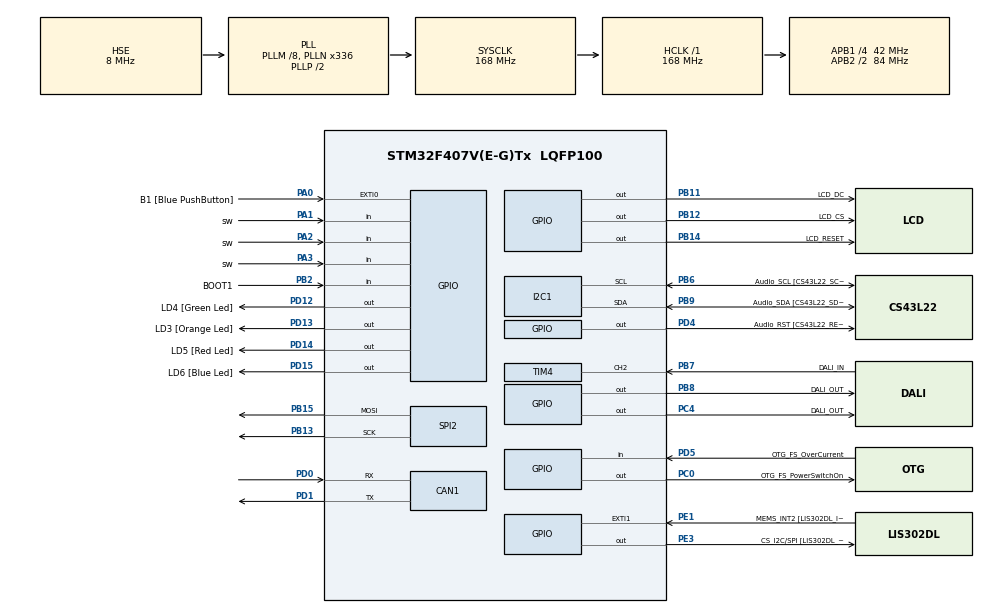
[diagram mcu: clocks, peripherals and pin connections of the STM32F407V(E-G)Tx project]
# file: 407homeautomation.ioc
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CAN1.BS1-Master=CAN_BS1_13TQ
CAN1.BS2-Master=CAN_BS2_2TQ
CAN1.CalculateTimeBit-Master=8000
CAN1.CalculateTimeQuantum-Master=500
CAN1.Mode-Master=CAN_MODE_LOOPBACK
CAN1.Prescaler-Master=21
Mcu.Family=STM32F4
Mcu.Name=STM32F407V(E-G)Tx
Mcu.Package=LQFP100
NVIC.CAN1_RX0_IRQn=true\:0\:0
NVIC.CAN1_RX1_IRQn=true\:0\:0
NVIC.PriorityGroup=NVIC_PRIORITYGROUP_0
NVIC.TIM4_IRQn=true\:0\:0
NVIC.TIM6_DAC_IRQn=true\:0\:0
PA0-WKUP.GPIO_Label=B1 [Blue PushButton]
PA0-WKUP.GPIO_ModeDefaultEXTI=GPIO_MODE_EVT_RISING
PA0-WKUP.GPIO_PuPd=GPIO_NOPULL
PA0-WKUP.Signal=GPXTI0
PA1.GPIO_Label=sw
PA1.GPIO_Mode=GPIO_MODE_INPUT
PA1.GPIO_PuPd=GPIO_PULLUP
PA1.Signal=GPIO_Input
PA10.GPIO_Label=OTG_FS_ID
PA10.GPIO_Mode=GPIO_MODE_AF_PP
PA10.GPIO_PuPd=GPIO_NOPULL
PA10.GPIO_Speed=GPIO_SPEED_LOW
PA10.Signal=USB_OTG_FS_ID
PA11.GPIO_Label=OTG_FS_DM
PA11.GPIO_Mode=GPIO_MODE_AF_PP
PA11.GPIO_PuPd=GPIO_NOPULL
PA11.GPIO_Speed=GPIO_SPEED_LOW
PA11.Signal=USB_OTG_FS_DM
PA12.GPIO_Label=OTG_FS_DP
PA12.GPIO_Mode=GPIO_MODE_AF_PP
PA12.GPIO_PuPd=GPIO_NOPULL
PA12.GPIO_Speed=GPIO_SPEED_LOW
PA12.Signal=USB_OTG_FS_DP
PA13.GPIO_Label=SWDIO
PA13.Mode=Trace-Asynchronous_SW
PA13.Signal=SYS_JTMS-SWDIO
PA14.GPIO_Label=SWCLK
PA14.Mode=Trace-Asynchronous_SW
PA14.Signal=SYS_JTCK-SWCLK
PA2.GPIO_Label=sw
PA2.GPIO_Mode=GPIO_MODE_INPUT
PA2.GPIO_PuPd=GPIO_PULLUP
PA2.Signal=GPIO_Input
PA3.GPIO_Label=sw
PA3.GPIO_Mode=GPIO_MODE_INPUT
PA3.GPIO_PuPd=GPIO_PULLUP
PA3.Signal=GPIO_Input
PA4.GPIO_Label=I2S3_WS [CS43L22_LRCK]
PA4.GPIO_Mode=GPIO_MODE_AF_PP
PA4.GPIO_PuPd=GPIO_NOPULL
PA4.GPIO_Speed=GPIO_SPEED_LOW
PA4.Signal=I2S3_WS
PA5.GPIO_Label=SPI1_SCK [LIS302DL_SCL/SPC]
PA5.GPIO_Mode=GPIO_MODE_AF_PP
PA5.GPIO_PuPd=GPIO_NOPULL
PA5.GPIO_Speed=GPIO_SPEED_LOW
PA5.Signal=SPI1_SCK
PA6.GPIO_Label=SPI1_MISO [LIS302DL_SDO]
PA6.GPIO_Mode=GPIO_MODE_AF_PP
PA6.GPIO_PuPd=GPIO_NOPULL
PA6.GPIO_Speed=GPIO_SPEED_LOW
PA6.Signal=SPI1_MISO
PA7.GPIO_Label=SPI1_MOSI [LIS302DL_SDA/SDI/SDO]
PA7.GPIO_Mode=GPIO_MODE_AF_PP
PA7.GPIO_PuPd=GPIO_NOPULL
PA7.GPIO_Speed=GPIO_SPEED_LOW
PA7.Signal=SPI1_MOSI
PA9.GPIO_Label=VBUS_FS
PA9.GPIO_Mode=GPIO_MODE_INPUT
PA9.GPIO_PuPd=GPIO_NOPULL
PA9.Signal=USB_OTG_FS_VBUS
PB10.GPIO_Label=CLK_IN [MP45DT02_CLK]
PB10.GPIO_Mode=GPIO_MODE_AF_PP
PB10.GPIO_PuPd=GPIO_NOPULL
PB10.GPIO_Speed=GPIO_SPEED_LOW
PB10.Signal=I2S2_CK
PB11.GPIO_Label=LCD_DC
PB11.GPIO_ModeDefaultOutputPP=GPIO_MODE_OUTPUT_PP
PB11.GPIO_PuPd=GPIO_NOPULL
PB11.GPIO_Speed=GPIO_SPEED_LOW
PB11.Signal=GPIO_Output
PB12.GPIO_Label=LCD_CS
PB12.GPIO_ModeDefaultOutputPP=GPIO_MODE_OUTPUT_PP
PB12.GPIO_PuPd=GPIO_NOPULL
PB12.GPIO_Speed=GPIO_SPEED_LOW
PB12.Signal=GPIO_Output
PB13.Mode=TX_Only_Simplex_Unidirect_Master
PB13.Signal=SPI2_SCK
PB14.GPIO_Label=LCD_RESET
PB14.GPIO_ModeDefaultOutputPP=GPIO_MODE_OUTPUT_PP
PB14.GPIO_PuPd=GPIO_NOPULL
PB14.GPIO_Speed=GPIO_SPEED_LOW
PB14.Signal=GPIO_Output
PB15.Mode=TX_Only_Simplex_Unidirect_Master
PB15.Signal=SPI2_MOSI
PB2.GPIO_Label=BOOT1
PB2.GPIO_Mode=GPIO_MODE_INPUT
PB2.GPIO_PuPd=GPIO_NOPULL
PB2.Signal=GPIO_Input
PB3.GPIO_Label=SWO
PB3.Mode=Trace-Asynchronous_SW
PB3.Signal=SYS_JTDO-SWO
PB6.GPIO_Label=Audio_SCL [CS43L22_SCL]
PB6.GPIO_Mode=GPIO_MODE_AF_OD
PB6.GPIO_PuPd=GPIO_NOPULL
PB6.GPIO_Speed=GPIO_SPEED_LOW
PB6.Mode=I2C
PB6.Signal=I2C1_SCL
PB7.GPIO_Label=DALI_IN
PB7.GPIO_ModeDefaultPP=GPIO_MODE_AF_PP
PB7.GPIO_PuPd=GPIO_NOPULL
PB7.GPIO_Speed=GPIO_SPEED_LOW
PB7.Signal=S_TIM4_CH2
PB8.GPIO_Label=DALI_OUT
PB8.GPIO_ModeDefaultOutputPP=GPIO_MODE_OUTPUT_OD
PB8.GPIO_PuPd=GPIO_PULLUP
PB8.GPIO_Speed=GPIO_SPEED_LOW
PB8.Signal=GPIO_Output
PB9.GPIO_Label=Audio_SDA [CS43L22_SDA]
PB9.GPIO_Mode=GPIO_MODE_AF_OD
PB9.GPIO_PuPd=GPIO_NOPULL
PB9.GPIO_Speed=GPIO_SPEED_LOW
PB9.Mode=I2C
PB9.Signal=I2C1_SDA
PC0.GPIO_Label=OTG_FS_PowerSwitchOn
PC0.GPIO_ModeDefaultOutputPP=GPIO_MODE_OUTPUT_PP
PC0.GPIO_PuPd=GPIO_NOPULL
PC0.GPIO_Speed=GPIO_SPEED_LOW
PC0.Signal=GPIO_Output
PC10.GPIO_Label=I2S3_SCK [CS43L22_SCLK]
PC10.GPIO_Mode=GPIO_MODE_AF_PP
PC10.GPIO_PuPd=GPIO_NOPULL
PC10.GPIO_Speed=GPIO_SPEED_LOW
PC10.Signal=I2S3_CK
PC12.GPIO_Label=I2S3_SD [CS43L22_SDIN]
PC12.GPIO_Mode=GPIO_MODE_AF_PP
PC12.GPIO_PuPd=GPIO_NOPULL
PC12.GPIO_Speed=GPIO_SPEED_LOW
PC12.Signal=I2S3_SD
PC14-OSC32_IN.GPIO_Label=PC14-OSC32_IN
PC14-OSC32_IN.Signal=RCC_OSC32_IN
PC15-OSC32_OUT.GPIO_Label=PC15-OSC32_OUT
PC15-OSC32_OUT.Signal=RCC_OSC32_OUT
PC3.GPIO_Label=PDM_OUT [MP45DT02_DOUT]
PC3.GPIO_Mode=GPIO_MODE_AF_PP
PC3.GPIO_PuPd=GPIO_NOPULL
PC3.GPIO_Speed=GPIO_SPEED_LOW
PC3.Signal=I2S2_SD
PC4.GPIO_Label=DALI_OUT
PC4.GPIO_ModeDefaultOutputPP=GPIO_MODE_OUTPUT_OD
PC4.GPIO_PuPd=GPIO_PULLUP
PC4.GPIO_Speed=GPIO_SPEED_LOW
PC4.Signal=GPIO_Output
PC7.GPIO_Label=I2S3_MCK [CS43L22_MCLK]
PC7.GPIO_Mode=GPIO_MODE_AF_PP
PC7.GPIO_PuPd=GPIO_NOPULL
PC7.GPIO_Speed=GPIO_SPEED_LOW
PC7.Signal=I2S3_MCK
PD0.Mode=Master
PD0.Signal=CAN1_RX
PD1.Mode=Master
PD1.Signal=CAN1_TX
PD12.GPIO_Label=LD4 [Green Led]
PD12.GPIO_ModeDefaultOutputPP=GPIO_MODE_OUTPUT_PP
PD12.GPIO_PuPd=GPIO_NOPULL
PD12.GPIO_Speed=GPIO_SPEED_LOW
PD12.Signal=GPIO_Output
PD13.GPIO_Label=LD3 [Orange Led]
PD13.GPIO_ModeDefaultOutputPP=GPIO_MODE_OUTPUT_PP
PD13.GPIO_PuPd=GPIO_NOPULL
PD13.GPIO_Speed=GPIO_SPEED_LOW
PD13.Signal=GPIO_Output
PD14.GPIO_Label=LD5 [Red Led]
PD14.GPIO_ModeDefaultOutputPP=GPIO_MODE_OUTPUT_PP
PD14.GPIO_PuPd=GPIO_NOPULL
PD14.GPIO_Speed=GPIO_SPEED_LOW
PD14.Signal=GPIO_Output
PD15.GPIO_Label=LD6 [Blue Led]
PD15.GPIO_ModeDefaultOutputPP=GPIO_MODE_OUTPUT_PP
PD15.GPIO_PuPd=GPIO_NOPULL
PD15.GPIO_Speed=GPIO_SPEED_LOW
PD15.Signal=GPIO_Output
PD4.GPIO_Label=Audio_RST [CS43L22_RESET]
PD4.GPIO_ModeDefaultOutputPP=GPIO_MODE_OUTPUT_PP
PD4.GPIO_PuPd=GPIO_NOPULL
PD4.GPIO_Speed=GPIO_SPEED_LOW
PD4.Signal=GPIO_Output
PD5.GPIO_Label=OTG_FS_OverCurrent
PD5.GPIO_Mode=GPIO_MODE_INPUT
PD5.GPIO_PuPd=GPIO_NOPULL
PD5.Signal=GPIO_Input
PE1.GPIO_Label=MEMS_INT2 [LIS302DL_INT2]
PE1.GPIO_ModeDefaultEXTI=GPIO_MODE_EVT_RISING
PE1.GPIO_PuPd=GPIO_NOPULL
PE1.Signal=GPXTI1
PE3.GPIO_Label=CS_I2C/SPI [LIS302DL_CS_I2C/SPI]
PE3.GPIO_ModeDefaultOutputPP=GPIO_MODE_OUTPUT_PP
PE3.GPIO_PuPd=GPIO_NOPULL
PE3.GPIO_Speed=GPIO_SPEED_LOW
PE3.Signal=GPIO_Output
PH0-OSC_IN.GPIO_Label=PH0-OSC_IN
PH0-OSC_IN.Mode=HSE-External-Oscillator
PH0-OSC_IN.Signal=RCC_OSC_IN
PH1-OSC_OUT.GPIO_Label=PH1-OSC_OUT
PH1-OSC_OUT.Mode=HSE-External-Oscillator
PH1-OSC_OUT.Signal=RCC_OSC_OUT
ProjectManager.TargetToolchain=TrueSTUDIO 4.3.1
RCC.48MHZClocksFreq_Value=48000000
RCC.AHBFreq_Value=168000000
RCC.APB1CLKDivider=RCC_HCLK_DIV4
RCC.APB1Freq_Value=42000000
RCC.APB1TimFreq_Value=84000000
RCC.APB2CLKDivider=RCC_HCLK_DIV2
RCC.APB2Freq_Value=84000000
RCC.APB2TimFreq_Value=168000000
RCC.ClockTypePCLK1-ClockTree=RCC_CLOCKTYPE_PCLK1
RCC.ClockTypePCLK2-ClockTree=RCC_CLOCKTYPE_PCLK2
RCC.ClockTypeSysClk-ClockTree=RCC_CLOCKTYPE_SYSCLK
RCC.CortexFreq_Value=21000000
RCC.EnableExtClockForI2S-ClockTree=false
RCC.EnableHSE-ClockTree=true
RCC.EnableHSERTCDevisor-ClockTree=false
RCC.EnableLSE-ClockTree=false
RCC.EnableLSERTC-ClockTree=false
RCC.ExtClockEnable-ClockTree=false
RCC.FLatency-AdvancedSettings=FLASH_LATENCY_5
RCC.HCLKFreq_Value=168000000
RCC.HSEState-ClockTree=RCC_HSE_ON
RCC.HSE_VALUE=8000000
RCC.HSIState-ClockTree=RCC_HSI_OFF
RCC.HSI_VALUE=16000000
RCC.I2SEnable-ClockTree=false
RCC.IWDGEnable-ClockTree=false
RCC.LSE_VALUE=32768
RCC.LSIState-ClockTree=RCC_LSI_OFF
RCC.MCO1OutPutEnable-ClockTree=false
RCC.MCO2OutPutEnable-ClockTree=false
RCC.OscillatorTypeHSE-ClockTree=RCC_OSCILLATORTYPE_HSE
RCC.PLLM=8
RCC.PLLN=336
RCC.PLLQ=7
RCC.PLLSource=RCC_PLLSOURCE_HSE
RCC.PLLSourceVirtual=RCC_PLLSOURCE_HSE
RCC.PLLState-ClockTree=RCC_PLL_ON
RCC.PWR_Regulator_Voltage_Scale-AdvancedSettings=PWR_REGULATOR_VOLTAGE_SCALE1
RCC.RNGEnable-ClockTree=false
RCC.RTCEnable-ClockTree=false
RCC.SDIOEnable-ClockTree=false
RCC.SYSCLKFreq_VALUE=168000000
RCC.SYSCLKSource=RCC_SYSCLKSOURCE_PLLCLK
RCC.USBFSEnable-ClockTree=false
RCC.USBHSEnable-ClockTree=false
RCC.VCOOutputFreq_Value=336000000
SH.S_TIM4_CH2.0=TIM4_CH2,Input_Capture2_from_TI2
SPI2.BaudRatePrescaler-TX_Only_Simplex_Unidirect_Master=SPI_BAUDRATEPRESCALER_8
SPI2.CalculateBaudRate-TX_Only_Simplex_Unidirect_Master=5.25 MBits/s
SPI2.Direction-TX_Only_Simplex_Unidirect_Master=SPI_DIRECTION_2LINES
SPI2.Mode-TX_Only_Simplex_Unidirect_Master=SPI_MODE_MASTER
SPI2.NSS-TX_Only_Simplex_Unidirect_Master=SPI_NSS_SOFT
SPI2.TIMode-TX_Only_Simplex_Unidirect_Master=SPI_TIMODE_DISABLED
SPI2.VirtualType-TX_Only_Simplex_Unidirect_Master=VM_MASTER
TIM4.Channel-Input_Capture2_from_TI2=TIM_CHANNEL_2
TIM4.ICPolarity_CH2-Input_Capture2_from_TI2=TIM_INPUTCHANNELPOLARITY_BOTHEDGE
TIM4.ICSelection-Input_Capture2_from_TI2=TIM_ICSELECTION_DIRECTTI
TIM4.Period=1000
TIM4.Prescaler=83
TIM6.CounterMode-Enable_Timer=TIM_COUNTERMODE_UP
TIM6.Period=62500
TIM6.Prescaler=1344
TIM6.TIM_MasterSlaveMode-Enable_Timer=TIM_MASTERSLAVEMODE_DISABLE
VP_TIM4_VS_ClockSourceINT.Mode=Internal
VP_TIM6_VS_ClockSourceINT.Mode=Enable_Timer

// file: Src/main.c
/**
 ******************************************************************************
 * File Name          : main.c
 * Date               : 03/01/2015 13:48:23
 * Description        : Main program body
 ******************************************************************************
 *
 * COPYRIGHT(c) 2015 STMicroelectronics
 *
 * Redistribution and use in source and binary forms, with or without modification,
 * are permitted provided that the following conditions are met:
 *   1. Redistributions of source code must retain the above copyright notice,
 *      this list of conditions and the following disclaimer.
 *   2. Redistributions in binary form must reproduce the above copyright notice,
 *      this list of conditions and the following disclaimer in the documentation
 *      and/or other materials provided with the distribution.
 *   3. Neither the name of STMicroelectronics nor the names of its contributors
 *      may be used to endorse or promote products derived from this software
 *      without specific prior written permission.
 *
 * THIS SOFTWARE IS PROVIDED BY THE COPYRIGHT HOLDERS AND CONTRIBUTORS "AS IS"
 * AND ANY EXPRESS OR IMPLIED WARRANTIES, INCLUDING, BUT NOT LIMITED TO, THE
 * IMPLIED WARRANTIES OF MERCHANTABILITY AND FITNESS FOR A PARTICULAR PURPOSE ARE
 * DISCLAIMED. IN NO EVENT SHALL THE COPYRIGHT HOLDER OR CONTRIBUTORS BE LIABLE
 * FOR ANY DIRECT, INDIRECT, INCIDENTAL, SPECIAL, EXEMPLARY, OR CONSEQUENTIAL
 * DAMAGES (INCLUDING, BUT NOT LIMITED TO, PROCUREMENT OF SUBSTITUTE GOODS OR
 * SERVICES; LOSS OF USE, DATA, OR PROFITS; OR BUSINESS INTERRUPTION) HOWEVER
 * CAUSED AND ON ANY THEORY OF LIABILITY, WHETHER IN CONTRACT, STRICT LIABILITY,
 * OR TORT (INCLUDING NEGLIGENCE OR OTHERWISE) ARISING IN ANY WAY OUT OF THE USE
 * OF THIS SOFTWARE, EVEN IF ADVISED OF THE POSSIBILITY OF SUCH DAMAGE.
 *
 ******************************************************************************
 */

#include "stm32f4xx_hal.h"

/* USER CODE BEGIN Includes */
#include "stm32f4_discovery.h"
#include "dht22multi.h"
#include "pwmdma.h"
#include "ili9341.h"
#include "gfx.h"
#include "lcdBaseGFX.h"
#include "DefaultFonts.h"
#include "terminal.h"
#include "homecontrol.h"
/* USER CODE END Includes */

CAN_HandleTypeDef hcan1;

I2C_HandleTypeDef hi2c1;

SPI_HandleTypeDef hspi2;

TIM_HandleTypeDef htim4;
TIM_HandleTypeDef htim6;

/* USER CODE BEGIN PV */
extern void DALI_StateMachineWrite();
extern uint16_t DHT22_CRCERROR;
extern uint16_t DHT22_TIMINGERROR;
#define I2C_ADDRESS        0x55
uint8_t aTxBuffer[] = { 0xFF, 0xFF, 0xFF, 0xFF };
uint8_t bTxBuffer[] = { 0x00, 0x00, 0x00, 0x00 };
CAN_FilterConfTypeDef sFilterConfig;
static CanTxMsgTypeDef TxMessage;
static CanRxMsgTypeDef RxMessage;

/* USER CODE END PV */

void SystemClock_Config(void);
static void MX_GPIO_Init(void);
static void MX_CAN1_Init(void);
static void MX_I2C1_Init(void);
static void MX_SPI2_Init(void);
static void MX_TIM4_Init(void);
static void MX_TIM6_Init(void);

/* USER CODE BEGIN 0 */
uint16_t values[] = { 0x1000, 0x2000, 0x3000, 0x4000, 0x5000, 0x6000, 0x7000,
		0x8000 };

static void Error_Handler(void) {
	/* Turn LED3 on */
	BSP_LED_On(LED_RED);
	while (1) {
	}
}

void HAL_CAN_RxCpltCallback(CAN_HandleTypeDef* hcan) {
	if (hcan1.pRxMsg->StdId != 0x321) {
		Error_Handler();
	}

	if (hcan1.pRxMsg->IDE != CAN_ID_STD) {
		Error_Handler();
	}

	if (hcan1.pRxMsg->DLC != 4) {
		Error_Handler();
	}

	if (hcan1.pRxMsg->Data[0] == 0xFF) {
		BSP_LED_On(LED_GREEN);
	} else {
		BSP_LED_Off(LED_GREEN);
	}
	/* Receive */
	hcan->Lock = HAL_UNLOCKED;
	  if(HAL_CAN_Receive_IT(hcan, CAN_FIFO0) != HAL_OK)
	  {
	    /* Reception Error */
	    Error_Handler();
	  }
}

HAL_StatusTypeDef CAN_Polling(void) {
	CAN_FilterConfTypeDef sFilterConfig;
	hcan1.pTxMsg = &TxMessage;
	hcan1.pRxMsg = &RxMessage;

	/* Set CAN error code to none */
	hcan1.ErrorCode = HAL_CAN_ERROR_NONE;
	/* Initialize the CAN state */
	hcan1.State = HAL_CAN_STATE_READY;

//  if(HAL_CAN_Init(&hcan1) != HAL_OK)
//  {
//    /* Initialization Error */
//    Error_Handler();
//  }

	/*##-2- Configure the CAN Filter ###########################################*/
	sFilterConfig.FilterNumber = 0;
	sFilterConfig.FilterMode = CAN_FILTERMODE_IDMASK;
	sFilterConfig.FilterScale = CAN_FILTERSCALE_32BIT;
	sFilterConfig.FilterIdHigh = 0x0000;
	sFilterConfig.FilterIdLow = 0x0000;
	sFilterConfig.FilterMaskIdHigh = 0x0000;
	sFilterConfig.FilterMaskIdLow = 0x0000;
	sFilterConfig.FilterFIFOAssignment = 0;
	sFilterConfig.FilterActivation = ENABLE;
	sFilterConfig.BankNumber = 14;

	if (HAL_CAN_ConfigFilter(&hcan1, &sFilterConfig) != HAL_OK) {
		/* Filter configuration Error */
		Error_Handler();
	}

	/*##-3- Start the Transmission process #####################################*/
	hcan1.pTxMsg->StdId = 0x321;
	hcan1.pTxMsg->ExtId = 0x01;
	hcan1.pTxMsg->RTR = CAN_RTR_DATA;
	hcan1.pTxMsg->IDE = CAN_ID_STD;
	hcan1.pTxMsg->DLC = 4;

	if (HAL_CAN_Receive_IT(&hcan1, CAN_FIFO0) != HAL_OK) {
		/* Reception Error */
		Error_Handler();
	}

	while (1) {
		hcan1.pTxMsg->Data[0] = hcan1.pTxMsg->Data[1] = hcan1.pTxMsg->Data[2] =
				hcan1.pTxMsg->Data[3] = 0xFF;
		if (HAL_CAN_Transmit(&hcan1, 10) != HAL_OK) {
			/* Transmition Error */
			Error_Handler();
		}
		HAL_Delay(500);
		hcan1.pTxMsg->Data[0] = hcan1.pTxMsg->Data[1] = hcan1.pTxMsg->Data[2] =
				hcan1.pTxMsg->Data[3] = 0x00;
		if (HAL_CAN_Transmit(&hcan1, 10) != HAL_OK) {
			/* Transmition Error */
			Error_Handler();
		}
		HAL_Delay(500);
	}

	return HAL_OK; /* Test Passed */
}

void HAL_TIM_PeriodElapsedCallback(TIM_HandleTypeDef *htim) {
	if (htim->Instance == TIM6) {
		DHT22MULTI_StateMachineTimIT();
	}
	if (htim->Instance == TIM4) {
		DALI_StateMachineWrite();
	}
}
/* USER CODE END 0 */

int main(void) {

	/* USER CODE BEGIN 1 */
	HAL_GPIO_WritePin(GPIOD, GPIO_PIN_0, GPIO_PIN_SET); //RELEASE
	/* USER CODE END 1 */

	/* MCU Configuration----------------------------------------------------------*/

	/* Reset of all peripherals, Initializes the Flash interface and the Systick. */
	HAL_Init();

	/* Configure the system clock */
	SystemClock_Config();

	/* Initialize all configured peripherals */
	MX_GPIO_Init();
	MX_CAN1_Init();
	MX_I2C1_Init();
	MX_SPI2_Init();
	MX_TIM4_Init();
	MX_TIM6_Init();

	/* USER CODE BEGIN 2 */
	//PWMDMA_Init();
	//DHT22MULTI_Init();
	//HAL_Delay(3000);
	//int16_t tempera = DHT22MULTI_GetTempInTenthDegrees(0);
	//ILI9341_Init(LCD_Orientation_Portrait);
	//GFX_FillScreen(ILI9341_COLOR_BLUE);
	/*
	 TERMINAL_Init(BigFont, ILI9341_COLOR_GREEN, ILI9341_COLOR_BLACK, LCD_Orientation_Landscape);
	 int i;
	 for(i=0;i<10;i++){
	 printf("Hallo %d\n", i);
	 }
	 */

	if (CAN_Polling() == HAL_OK) { /* OK */
		BSP_LED_On(LED_GREEN);
	} else { /* KO */
		BSP_LED_On(LED_ORANGE);
	}
	while (1) {
	};

	HOMECONTROL_Eternity();
	/* USER CODE END 2 */

	/* USER CODE BEGIN 3 */
	/* Infinite loop */
	int cnt = 0;
	while (1) {
		HAL_I2C_Master_Transmit(&hi2c1, (uint16_t) I2C_ADDRESS,
				(uint8_t*) aTxBuffer, 4, 10000);
		HAL_Delay(300);
		HAL_I2C_Master_Transmit(&hi2c1, (uint16_t) I2C_ADDRESS,
				(uint8_t*) bTxBuffer, 4, 10000);
		HAL_Delay(300);

		/*
		 for(cnt=0;cnt<100;cnt++){
		 PWMDMA_SetPWM(12, cnt);
		 HAL_Delay(20);
		 }
		 for(cnt=99;cnt>=0;cnt--){
		 PWMDMA_SetPWM(12, cnt);
		 HAL_Delay(20);
		 }
		 */
		/*
		 if(DHT22_CRCERROR || DHT22_TIMINGERROR){
		 while(1){}
		 }
		 */
	}
	/* USER CODE END 3 */

}

/** System Clock Configuration
 */
void SystemClock_Config(void) {

	RCC_OscInitTypeDef RCC_OscInitStruct;
	RCC_ClkInitTypeDef RCC_ClkInitStruct;

	__PWR_CLK_ENABLE();

	__HAL_PWR_VOLTAGESCALING_CONFIG(PWR_REGULATOR_VOLTAGE_SCALE1);

	RCC_OscInitStruct.OscillatorType = RCC_OSCILLATORTYPE_HSE;
	RCC_OscInitStruct.HSEState = RCC_HSE_ON;
	RCC_OscInitStruct.PLL.PLLState = RCC_PLL_ON;
	RCC_OscInitStruct.PLL.PLLSource = RCC_PLLSOURCE_HSE;
	RCC_OscInitStruct.PLL.PLLM = 8;
	RCC_OscInitStruct.PLL.PLLN = 336;
	RCC_OscInitStruct.PLL.PLLP = RCC_PLLP_DIV2;
	RCC_OscInitStruct.PLL.PLLQ = 7;
	HAL_RCC_OscConfig(&RCC_OscInitStruct);

	RCC_ClkInitStruct.ClockType = RCC_CLOCKTYPE_SYSCLK | RCC_CLOCKTYPE_PCLK1
			| RCC_CLOCKTYPE_PCLK2;
	RCC_ClkInitStruct.SYSCLKSource = RCC_SYSCLKSOURCE_PLLCLK;
	RCC_ClkInitStruct.AHBCLKDivider = RCC_SYSCLK_DIV1;
	RCC_ClkInitStruct.APB1CLKDivider = RCC_HCLK_DIV4;
	RCC_ClkInitStruct.APB2CLKDivider = RCC_HCLK_DIV2;
	HAL_RCC_ClockConfig(&RCC_ClkInitStruct, FLASH_LATENCY_5);

}

/* CAN1 init function */
void MX_CAN1_Init(void) {

	hcan1.Instance = CAN1;
	hcan1.Init.Prescaler = 21;
	hcan1.Init.Mode = CAN_MODE_NORMAL;
	hcan1.Init.SJW = CAN_SJW_1TQ;
	hcan1.Init.BS1 = CAN_BS1_13TQ;
	hcan1.Init.BS2 = CAN_BS2_2TQ;
	hcan1.Init.TTCM = DISABLE;
	hcan1.Init.ABOM = DISABLE;
	hcan1.Init.AWUM = DISABLE;
	hcan1.Init.NART = DISABLE;
	hcan1.Init.RFLM = DISABLE;
	hcan1.Init.TXFP = DISABLE;
	HAL_CAN_Init(&hcan1);

}

/* I2C1 init function */
void MX_I2C1_Init(void) {

	hi2c1.Instance = I2C1;
	hi2c1.Init.ClockSpeed = 100000;
	hi2c1.Init.DutyCycle = I2C_DUTYCYCLE_2;
	hi2c1.Init.OwnAddress1 = 0;
	hi2c1.Init.AddressingMode = I2C_ADDRESSINGMODE_7BIT;
	hi2c1.Init.DualAddressMode = I2C_DUALADDRESS_DISABLED;
	hi2c1.Init.OwnAddress2 = 0;
	hi2c1.Init.GeneralCallMode = I2C_GENERALCALL_DISABLED;
	hi2c1.Init.NoStretchMode = I2C_NOSTRETCH_DISABLED;
	HAL_I2C_Init(&hi2c1);

}

/* SPI2 init function */
void MX_SPI2_Init(void) {

	hspi2.Instance = SPI2;
	hspi2.Init.Mode = SPI_MODE_MASTER;
	hspi2.Init.Direction = SPI_DIRECTION_2LINES;
	hspi2.Init.DataSize = SPI_DATASIZE_8BIT;
	hspi2.Init.CLKPolarity = SPI_POLARITY_LOW;
	hspi2.Init.CLKPhase = SPI_PHASE_1EDGE;
	hspi2.Init.NSS = SPI_NSS_SOFT;
	hspi2.Init.BaudRatePrescaler = SPI_BAUDRATEPRESCALER_8;
	hspi2.Init.FirstBit = SPI_FIRSTBIT_MSB;
	hspi2.Init.TIMode = SPI_TIMODE_DISABLED;
	hspi2.Init.CRCCalculation = SPI_CRCCALCULATION_DISABLED;
	HAL_SPI_Init(&hspi2);

}

/* TIM4 init function */
void MX_TIM4_Init(void) {

	TIM_ClockConfigTypeDef sClockSourceConfig;
	TIM_MasterConfigTypeDef sMasterConfig;
	TIM_IC_InitTypeDef sConfigIC;

	htim4.Instance = TIM4;
	htim4.Init.Prescaler = 83;
	htim4.Init.CounterMode = TIM_COUNTERMODE_UP;
	htim4.Init.Period = 1000;
	htim4.Init.ClockDivision = TIM_CLOCKDIVISION_DIV1;
	HAL_TIM_Base_Init(&htim4);

	sClockSourceConfig.ClockSource = TIM_CLOCKSOURCE_INTERNAL;
	HAL_TIM_ConfigClockSource(&htim4, &sClockSourceConfig);

	HAL_TIM_IC_Init(&htim4);

	sMasterConfig.MasterOutputTrigger = TIM_TRGO_RESET;
	sMasterConfig.MasterSlaveMode = TIM_MASTERSLAVEMODE_DISABLE;
	HAL_TIMEx_MasterConfigSynchronization(&htim4, &sMasterConfig);

	sConfigIC.ICPolarity = TIM_INPUTCHANNELPOLARITY_BOTHEDGE;
	sConfigIC.ICSelection = TIM_ICSELECTION_DIRECTTI;
	sConfigIC.ICPrescaler = TIM_ICPSC_DIV1;
	sConfigIC.ICFilter = 0;
	HAL_TIM_IC_ConfigChannel(&htim4, &sConfigIC, TIM_CHANNEL_2);

}

/* TIM6 init function */
void MX_TIM6_Init(void) {

	TIM_MasterConfigTypeDef sMasterConfig;

	htim6.Instance = TIM6;
	htim6.Init.Prescaler = 1344;
	htim6.Init.CounterMode = TIM_COUNTERMODE_UP;
	htim6.Init.Period = 62500;
	HAL_TIM_Base_Init(&htim6);

	sMasterConfig.MasterOutputTrigger = TIM_TRGO_RESET;
	sMasterConfig.MasterSlaveMode = TIM_MASTERSLAVEMODE_DISABLE;
	HAL_TIMEx_MasterConfigSynchronization(&htim6, &sMasterConfig);

}

/** Configure pins as
 * Analog
 * Input
 * Output
 * EVENT_OUT
 * EXTI
 PC3   ------> I2S2_SD
 PA4   ------> I2S3_WS
 PA5   ------> SPI1_SCK
 PA6   ------> SPI1_MISO
 PA7   ------> SPI1_MOSI
 PB10   ------> I2S2_CK
 PC7   ------> I2S3_MCK
 PA9   ------> USB_OTG_FS_VBUS
 PA10   ------> USB_OTG_FS_ID
 PA11   ------> USB_OTG_FS_DM
 PA12   ------> USB_OTG_FS_DP
 PC10   ------> I2S3_CK
 PC12   ------> I2S3_SD
 */
void MX_GPIO_Init(void) {

	GPIO_InitTypeDef GPIO_InitStruct;

	/* GPIO Ports Clock Enable */
	__GPIOE_CLK_ENABLE();
	__GPIOC_CLK_ENABLE();
	__GPIOH_CLK_ENABLE();
	__GPIOA_CLK_ENABLE();
	__GPIOB_CLK_ENABLE();
	__GPIOD_CLK_ENABLE();

	/*Configure GPIO pin : PE3 */
	GPIO_InitStruct.Pin = GPIO_PIN_3;
	GPIO_InitStruct.Mode = GPIO_MODE_OUTPUT_PP;
	GPIO_InitStruct.Pull = GPIO_NOPULL;
	GPIO_InitStruct.Speed = GPIO_SPEED_LOW;
	HAL_GPIO_Init(GPIOE, &GPIO_InitStruct);

	/*Configure GPIO pin : PC0 */
	GPIO_InitStruct.Pin = GPIO_PIN_0;
	GPIO_InitStruct.Mode = GPIO_MODE_OUTPUT_PP;
	GPIO_InitStruct.Pull = GPIO_NOPULL;
	GPIO_InitStruct.Speed = GPIO_SPEED_LOW;
	HAL_GPIO_Init(GPIOC, &GPIO_InitStruct);

	/*Configure GPIO pin : PC3 */
	GPIO_InitStruct.Pin = GPIO_PIN_3;
	GPIO_InitStruct.Mode = GPIO_MODE_AF_PP;
	GPIO_InitStruct.Pull = GPIO_NOPULL;
	GPIO_InitStruct.Speed = GPIO_SPEED_LOW;
	GPIO_InitStruct.Alternate = GPIO_AF5_SPI2;
	HAL_GPIO_Init(GPIOC, &GPIO_InitStruct);

	/*Configure GPIO pin : PA0 */
	GPIO_InitStruct.Pin = GPIO_PIN_0;
	GPIO_InitStruct.Mode = GPIO_MODE_EVT_RISING;
	GPIO_InitStruct.Pull = GPIO_NOPULL;
	HAL_GPIO_Init(GPIOA, &GPIO_InitStruct);

	/*Configure GPIO pins : PA1 PA2 PA3 */
	GPIO_InitStruct.Pin = GPIO_PIN_1 | GPIO_PIN_2 | GPIO_PIN_3;
	GPIO_InitStruct.Mode = GPIO_MODE_INPUT;
	GPIO_InitStruct.Pull = GPIO_PULLUP;
	HAL_GPIO_Init(GPIOA, &GPIO_InitStruct);

	/*Configure GPIO pin : PA4 */
	GPIO_InitStruct.Pin = GPIO_PIN_4;
	GPIO_InitStruct.Mode = GPIO_MODE_AF_PP;
	GPIO_InitStruct.Pull = GPIO_NOPULL;
	GPIO_InitStruct.Speed = GPIO_SPEED_LOW;
	GPIO_InitStruct.Alternate = GPIO_AF6_SPI3;
	HAL_GPIO_Init(GPIOA, &GPIO_InitStruct);

	/*Configure GPIO pins : PA5 PA6 PA7 */
	GPIO_InitStruct.Pin = GPIO_PIN_5 | GPIO_PIN_6 | GPIO_PIN_7;
	GPIO_InitStruct.Mode = GPIO_MODE_AF_PP;
	GPIO_InitStruct.Pull = GPIO_NOPULL;
	GPIO_InitStruct.Speed = GPIO_SPEED_LOW;
	GPIO_InitStruct.Alternate = GPIO_AF5_SPI1;
	HAL_GPIO_Init(GPIOA, &GPIO_InitStruct);

	/*Configure GPIO pin : PC4 */
	GPIO_InitStruct.Pin = GPIO_PIN_4;
	GPIO_InitStruct.Mode = GPIO_MODE_OUTPUT_OD;
	GPIO_InitStruct.Pull = GPIO_PULLUP;
	GPIO_InitStruct.Speed = GPIO_SPEED_LOW;
	HAL_GPIO_Init(GPIOC, &GPIO_InitStruct);

	/*Configure GPIO pin : PB2 */
	GPIO_InitStruct.Pin = GPIO_PIN_2;
	GPIO_InitStruct.Mode = GPIO_MODE_INPUT;
	GPIO_InitStruct.Pull = GPIO_NOPULL;
	HAL_GPIO_Init(GPIOB, &GPIO_InitStruct);

	/*Configure GPIO pin : PB10 */
	GPIO_InitStruct.Pin = GPIO_PIN_10;
	GPIO_InitStruct.Mode = GPIO_MODE_AF_PP;
	GPIO_InitStruct.Pull = GPIO_NOPULL;
	GPIO_InitStruct.Speed = GPIO_SPEED_LOW;
	GPIO_InitStruct.Alternate = GPIO_AF5_SPI2;
	HAL_GPIO_Init(GPIOB, &GPIO_InitStruct);

	/*Configure GPIO pins : PB11 PB12 PB14 */
	GPIO_InitStruct.Pin = GPIO_PIN_11 | GPIO_PIN_12 | GPIO_PIN_14;
	GPIO_InitStruct.Mode = GPIO_MODE_OUTPUT_PP;
	GPIO_InitStruct.Pull = GPIO_NOPULL;
	GPIO_InitStruct.Speed = GPIO_SPEED_LOW;
	HAL_GPIO_Init(GPIOB, &GPIO_InitStruct);

	/*Configure GPIO pins : PD12 PD13 PD14 PD15
	 PD4 */
	GPIO_InitStruct.Pin = GPIO_PIN_12 | GPIO_PIN_13 | GPIO_PIN_14 | GPIO_PIN_15
			| GPIO_PIN_4;
	GPIO_InitStruct.Mode = GPIO_MODE_OUTPUT_PP;
	GPIO_InitStruct.Pull = GPIO_NOPULL;
	GPIO_InitStruct.Speed = GPIO_SPEED_LOW;
	HAL_GPIO_Init(GPIOD, &GPIO_InitStruct);

	/*Configure GPIO pins : PC7 PC10 PC12 */
	GPIO_InitStruct.Pin = GPIO_PIN_7 | GPIO_PIN_10 | GPIO_PIN_12;
	GPIO_InitStruct.Mode = GPIO_MODE_AF_PP;
	GPIO_InitStruct.Pull = GPIO_NOPULL;
	GPIO_InitStruct.Speed = GPIO_SPEED_LOW;
	GPIO_InitStruct.Alternate = GPIO_AF6_SPI3;
	HAL_GPIO_Init(GPIOC, &GPIO_InitStruct);

	/*Configure GPIO pin : PA9 */
	GPIO_InitStruct.Pin = GPIO_PIN_9;
	GPIO_InitStruct.Mode = GPIO_MODE_INPUT;
	GPIO_InitStruct.Pull = GPIO_NOPULL;
	HAL_GPIO_Init(GPIOA, &GPIO_InitStruct);

	/*Configure GPIO pins : PA10 PA11 PA12 */
	GPIO_InitStruct.Pin = GPIO_PIN_10 | GPIO_PIN_11 | GPIO_PIN_12;
	GPIO_InitStruct.Mode = GPIO_MODE_AF_PP;
	GPIO_InitStruct.Pull = GPIO_NOPULL;
	GPIO_InitStruct.Speed = GPIO_SPEED_LOW;
	GPIO_InitStruct.Alternate = GPIO_AF10_OTG_FS;
	HAL_GPIO_Init(GPIOA, &GPIO_InitStruct);

	/*Configure GPIO pin : PD5 */
	GPIO_InitStruct.Pin = GPIO_PIN_5;
	GPIO_InitStruct.Mode = GPIO_MODE_INPUT;
	GPIO_InitStruct.Pull = GPIO_NOPULL;
	HAL_GPIO_Init(GPIOD, &GPIO_InitStruct);

	/*Configure GPIO pin : PB8 */
	GPIO_InitStruct.Pin = GPIO_PIN_8;
	GPIO_InitStruct.Mode = GPIO_MODE_OUTPUT_OD;
	GPIO_InitStruct.Pull = GPIO_PULLUP;
	GPIO_InitStruct.Speed = GPIO_SPEED_LOW;
	HAL_GPIO_Init(GPIOB, &GPIO_InitStruct);

	/*Configure GPIO pin : PE1 */
	GPIO_InitStruct.Pin = GPIO_PIN_1;
	GPIO_InitStruct.Mode = GPIO_MODE_EVT_RISING;
	GPIO_InitStruct.Pull = GPIO_NOPULL;
	HAL_GPIO_Init(GPIOE, &GPIO_InitStruct);

}

/************************ (C) COPYRIGHT STMicroelectronics *****END OF FILE****/
